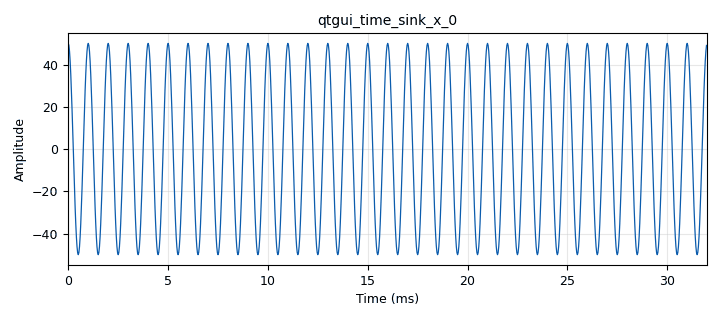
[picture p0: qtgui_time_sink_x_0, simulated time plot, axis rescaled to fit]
options:
  parameters:
    author: J1_G03
    copyright: J1_G03
    generate_options: qt_gui
    id: practica3_G03
    output_language: python
    title: practica3_G03
  states: {}

blocks:
- name: Amplitude
  id: variable_qtgui_range
  parameters:
    label: Amplitude
    orient: Qt.Horizontal
    start: '0'
    step: '20'
    stop: '200'
    value: '50'
  states: {}
- name: samp_rate
  id: variable
  parameters:
    value: '32000'
  states: {}
- name: CalculoPotenciaComunicaciones_0
  id: CalculoPotenciaComunicaciones
  parameters:
    l_vect: '1024'
  states: {}
- name: analog_sig_source_x_0
  id: analog_sig_source_x
  parameters:
    amp: Amplitude
    freq: '1000'
    offset: '0'
    phase: '0'
    samp_rate: samp_rate
    type: float
    waveform: analog.GR_COS_WAVE
  states: {}
- name: blocks_throttle_0
  id: blocks_throttle
  parameters:
    samples_per_second: samp_rate
    type: float
  states: {}
- name: qtgui_time_sink_x_0
  id: qtgui_time_sink_x
  parameters:
    grid: 'True'
    size: '1024'
    srate: samp_rate
    type: float
  states: {}

connections:
- [analog_sig_source_x_0, '0', blocks_throttle_0, '0']
- [blocks_throttle_0, '0', CalculoPotenciaComunicaciones_0, '0']
- [blocks_throttle_0, '0', qtgui_time_sink_x_0, '0']

metadata:
  file_format: 1
